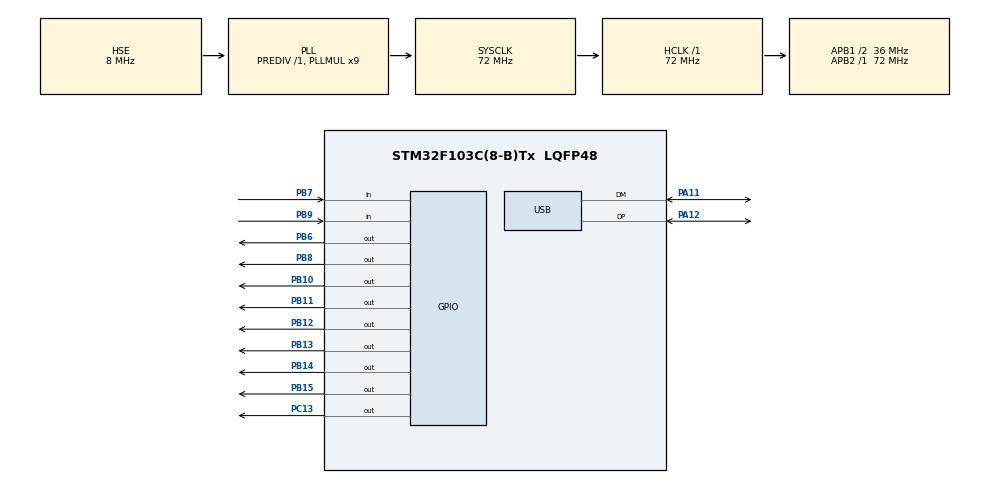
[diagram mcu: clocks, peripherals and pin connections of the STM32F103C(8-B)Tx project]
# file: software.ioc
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FREERTOS.Tasks01=defaultTask,24,128,StartDefaultTask,Default,NULL,Static,defaultTaskBuffer,defaultTaskControlBlock;KeyTask,40,128,KeyTaskFunc,Default,NULL,Static,KeyTaskBuffer,KeyTaskControlBlock;lcdTask,16,192,lcdTaskFunc,Default,NULL,Static,lcdTaskBuffer,lcdTaskControlBlock;calculatorTask,24,832,calculatorTaskFunc,Default,NULL,Static,claculatorTaskBuffer,claculatorTaskControlBlock;controllerTask,24,256,controllerTaskFunc,Default,NULL,Static,controllerTaskBuffer,controllerTaskControlBlock
FREERTOS.configCHECK_FOR_STACK_OVERFLOW=1
FREERTOS.configTIMER_TASK_STACK_DEPTH=128
FREERTOS.configTOTAL_HEAP_SIZE=1024
FREERTOS.configUSE_MALLOC_FAILED_HOOK=1
Mcu.Family=STM32F1
Mcu.Name=STM32F103C(8-B)Tx
Mcu.Package=LQFP48
NVIC.PriorityGroup=NVIC_PRIORITYGROUP_4
NVIC.TIM4_IRQn=true\:15\:0\:false\:false\:true\:false\:false\:true\:true
NVIC.TimeBase=TIM4_IRQn
NVIC.TimeBaseIP=TIM4
NVIC.USB_LP_CAN1_RX0_IRQn=true\:5\:0\:false\:false\:true\:true\:true\:true\:true
PA11.Mode=Device
PA11.Signal=USB_DM
PA12.Mode=Device
PA12.Signal=USB_DP
PA13.Mode=Serial_Wire
PA13.Signal=SYS_JTMS-SWDIO
PA14.Mode=Serial_Wire
PA14.Signal=SYS_JTCK-SWCLK
PB10.Signal=GPIO_Output
PB11.Signal=GPIO_Output
PB12.Signal=GPIO_Output
PB13.PinState=GPIO_PIN_RESET
PB13.Signal=GPIO_Output
PB14.Signal=GPIO_Output
PB15.Signal=GPIO_Output
PB6.PinState=GPIO_PIN_SET
PB6.Signal=GPIO_Output
PB7.Signal=GPIO_Input
PB8.GPIO_Speed=GPIO_SPEED_FREQ_LOW
PB8.PinState=GPIO_PIN_SET
PB8.Signal=GPIO_Output
PB9.Signal=GPIO_Input
PC13-TAMPER-RTC.PinState=GPIO_PIN_SET
PC13-TAMPER-RTC.Signal=GPIO_Output
PC14-OSC32_IN.Mode=LSE-External-Oscillator
PC14-OSC32_IN.Signal=RCC_OSC32_IN
PC15-OSC32_OUT.Mode=LSE-External-Oscillator
PC15-OSC32_OUT.Signal=RCC_OSC32_OUT
PD0-OSC_IN.Mode=HSE-External-Oscillator
PD0-OSC_IN.Signal=RCC_OSC_IN
PD1-OSC_OUT.Mode=HSE-External-Oscillator
PD1-OSC_OUT.Signal=RCC_OSC_OUT
ProjectManager.HeapSize=0x0
ProjectManager.StackSize=0x400
ProjectManager.TargetToolchain=CMake
RCC.AHBFreq_Value=72000000
RCC.APB1CLKDivider=RCC_HCLK_DIV2
RCC.APB1Freq_Value=36000000
RCC.APB1TimFreq_Value=72000000
RCC.APB2Freq_Value=72000000
RCC.APB2TimFreq_Value=72000000
RCC.HCLKFreq_Value=72000000
RCC.PLLMUL=RCC_PLL_MUL9
RCC.PLLSourceVirtual=RCC_PLLSOURCE_HSE
RCC.SYSCLKFreq_VALUE=72000000
RCC.SYSCLKSource=RCC_SYSCLKSOURCE_PLLCLK
RCC.USBFreq_Value=48000000
RCC.USBPrescaler=RCC_USBCLKSOURCE_PLL_DIV1_5
TIM3.Prescaler=71
USB_DEVICE.APP_RX_DATA_SIZE=128
USB_DEVICE.APP_TX_DATA_SIZE=128
USB_DEVICE.CLASS_NAME_FS=CDC
USB_DEVICE.USBD_MAX_STR_DESC_SIZ=64
USB_DEVICE.VirtualMode=Cdc
USB_DEVICE.VirtualModeFS=Cdc_FS
VP_FREERTOS_VS_CMSIS_V2.Mode=CMSIS_V2
VP_SYS_VS_tim4.Mode=TIM4
VP_TIM3_VS_ClockSourceINT.Mode=Internal
VP_USB_DEVICE_VS_USB_DEVICE_CDC_FS.Mode=CDC_FS
board=custom

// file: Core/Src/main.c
/* USER CODE BEGIN Header */
/**
  ******************************************************************************
  * @file           : main.c
  * @brief          : Main program body
  ******************************************************************************
  * @attention
  *
  * Copyright (c) 2026 STMicroelectronics.
  * All rights reserved.
  *
  * This software is licensed under terms that can be found in the LICENSE file
  * in the root directory of this software component.
  * If no LICENSE file comes with this software, it is provided AS-IS.
  *
  ******************************************************************************
  */
/* USER CODE END Header */
#include "main.h"
#include "cmsis_os.h"

/* USER CODE BEGIN Includes */
#include "calculator_app.h"
/*
 * CubeMX still owns the optional USB configuration used by the separate
 * self-test image. Keep calculator regeneration from starting USB.
 */
/* #define MX_USB_DEVICE_Init() ((void)0) */
#include "usb_device.h"
/* USER CODE END Includes */

typedef StaticTask_t osStaticThreadDef_t;

TIM_HandleTypeDef htim3;

/* Definitions for defaultTask */
osThreadId_t defaultTaskHandle;
uint32_t defaultTaskBuffer[ 128 ];
osStaticThreadDef_t defaultTaskControlBlock;
const osThreadAttr_t defaultTask_attributes = {
  .name = "defaultTask",
  .cb_mem = &defaultTaskControlBlock,
  .cb_size = sizeof(defaultTaskControlBlock),
  .stack_mem = &defaultTaskBuffer[0],
  .stack_size = sizeof(defaultTaskBuffer),
  .priority = (osPriority_t) osPriorityNormal,
};
/* Definitions for KeyTask */
osThreadId_t KeyTaskHandle;
uint32_t KeyTaskBuffer[ 128 ];
osStaticThreadDef_t KeyTaskControlBlock;
const osThreadAttr_t KeyTask_attributes = {
  .name = "KeyTask",
  .cb_mem = &KeyTaskControlBlock,
  .cb_size = sizeof(KeyTaskControlBlock),
  .stack_mem = &KeyTaskBuffer[0],
  .stack_size = sizeof(KeyTaskBuffer),
  .priority = (osPriority_t) osPriorityHigh,
};
/* Definitions for lcdTask */
osThreadId_t lcdTaskHandle;
uint32_t lcdTaskBuffer[ 192 ];
osStaticThreadDef_t lcdTaskControlBlock;
const osThreadAttr_t lcdTask_attributes = {
  .name = "lcdTask",
  .cb_mem = &lcdTaskControlBlock,
  .cb_size = sizeof(lcdTaskControlBlock),
  .stack_mem = &lcdTaskBuffer[0],
  .stack_size = sizeof(lcdTaskBuffer),
  .priority = (osPriority_t) osPriorityBelowNormal,
};
/* Definitions for calculatorTask */
osThreadId_t calculatorTaskHandle;
uint32_t claculatorTaskBuffer[ 832 ];
osStaticThreadDef_t claculatorTaskControlBlock;
const osThreadAttr_t calculatorTask_attributes = {
  .name = "calculatorTask",
  .cb_mem = &claculatorTaskControlBlock,
  .cb_size = sizeof(claculatorTaskControlBlock),
  .stack_mem = &claculatorTaskBuffer[0],
  .stack_size = sizeof(claculatorTaskBuffer),
  .priority = (osPriority_t) osPriorityNormal,
};
/* Definitions for controllerTask */
osThreadId_t controllerTaskHandle;
uint32_t controllerTaskBuffer[ 256 ];
osStaticThreadDef_t controllerTaskControlBlock;
const osThreadAttr_t controllerTask_attributes = {
  .name = "controllerTask",
  .cb_mem = &controllerTaskControlBlock,
  .cb_size = sizeof(controllerTaskControlBlock),
  .stack_mem = &controllerTaskBuffer[0],
  .stack_size = sizeof(controllerTaskBuffer),
  .priority = (osPriority_t) osPriorityNormal,
};

void SystemClock_Config(void);
static void MX_GPIO_Init(void);
static void MX_TIM3_Init(void);
void StartDefaultTask(void *argument);
void KeyTaskFunc(void *argument);
void lcdTaskFunc(void *argument);
void calculatorTaskFunc(void *argument);
void controllerTaskFunc(void *argument);

int main(void)

{

  /* MCU Configuration--------------------------------------------------------*/

  /* Reset of all peripherals, Initializes the Flash interface and the Systick. */
  HAL_Init();

  /* Configure the system clock */
  SystemClock_Config();

  /* Initialize all configured peripherals */
  MX_GPIO_Init();
  MX_TIM3_Init();
  /* USER CODE BEGIN 2 */

  if (HAL_TIM_Base_Start(&htim3) != HAL_OK)
  {
    Error_Handler();
  }
  MX_USB_DEVICE_Init();

  /* USER CODE END 2 */

  /* Init scheduler */
  osKernelInitialize();

  /* USER CODE BEGIN RTOS_QUEUES */
  calculator_app_init();
  /* USER CODE END RTOS_QUEUES */

  /* Create the thread(s) */
  /* creation of defaultTask */
  defaultTaskHandle = osThreadNew(StartDefaultTask, NULL, &defaultTask_attributes);

  /* creation of KeyTask */
  KeyTaskHandle = osThreadNew(KeyTaskFunc, NULL, &KeyTask_attributes);

  /* creation of lcdTask */
  lcdTaskHandle = osThreadNew(lcdTaskFunc, NULL, &lcdTask_attributes);

  /* creation of calculatorTask */
  calculatorTaskHandle = osThreadNew(calculatorTaskFunc, NULL, &calculatorTask_attributes);

  /* creation of controllerTask */
  controllerTaskHandle = osThreadNew(controllerTaskFunc, NULL, &controllerTask_attributes);

  /* Start scheduler */
  osKernelStart();

  /* We should never get here as control is now taken by the scheduler */

  /* Infinite loop */
  while (1)
  {

  }
}

void SystemClock_Config(void)
{
  RCC_OscInitTypeDef RCC_OscInitStruct = {0};
  RCC_ClkInitTypeDef RCC_ClkInitStruct = {0};
  RCC_PeriphCLKInitTypeDef PeriphClkInit = {0};

  /** Initializes the RCC Oscillators according to the specified parameters
  * in the RCC_OscInitTypeDef structure.
  */
  RCC_OscInitStruct.OscillatorType = RCC_OSCILLATORTYPE_HSE;
  RCC_OscInitStruct.HSEState = RCC_HSE_ON;
  RCC_OscInitStruct.HSEPredivValue = RCC_HSE_PREDIV_DIV1;
  RCC_OscInitStruct.HSIState = RCC_HSI_ON;
  RCC_OscInitStruct.PLL.PLLState = RCC_PLL_ON;
  RCC_OscInitStruct.PLL.PLLSource = RCC_PLLSOURCE_HSE;
  RCC_OscInitStruct.PLL.PLLMUL = RCC_PLL_MUL9;
  if (HAL_RCC_OscConfig(&RCC_OscInitStruct) != HAL_OK)
  {
    Error_Handler();
  }

  /** Initializes the CPU, AHB and APB buses clocks
  */
  RCC_ClkInitStruct.ClockType = RCC_CLOCKTYPE_HCLK|RCC_CLOCKTYPE_SYSCLK
                              |RCC_CLOCKTYPE_PCLK1|RCC_CLOCKTYPE_PCLK2;
  RCC_ClkInitStruct.SYSCLKSource = RCC_SYSCLKSOURCE_PLLCLK;
  RCC_ClkInitStruct.AHBCLKDivider = RCC_SYSCLK_DIV1;
  RCC_ClkInitStruct.APB1CLKDivider = RCC_HCLK_DIV2;
  RCC_ClkInitStruct.APB2CLKDivider = RCC_HCLK_DIV1;

  if (HAL_RCC_ClockConfig(&RCC_ClkInitStruct, FLASH_LATENCY_2) != HAL_OK)
  {
    Error_Handler();
  }
  PeriphClkInit.PeriphClockSelection = RCC_PERIPHCLK_USB;
  PeriphClkInit.UsbClockSelection = RCC_USBCLKSOURCE_PLL_DIV1_5;
  if (HAL_RCCEx_PeriphCLKConfig(&PeriphClkInit) != HAL_OK)
  {
    Error_Handler();
  }
}

static void MX_TIM3_Init(void)
{

  TIM_ClockConfigTypeDef sClockSourceConfig = {0};
  TIM_MasterConfigTypeDef sMasterConfig = {0};

  htim3.Instance = TIM3;
  htim3.Init.Prescaler = 71;
  htim3.Init.CounterMode = TIM_COUNTERMODE_UP;
  htim3.Init.Period = 65535;
  htim3.Init.ClockDivision = TIM_CLOCKDIVISION_DIV1;
  htim3.Init.AutoReloadPreload = TIM_AUTORELOAD_PRELOAD_DISABLE;
  if (HAL_TIM_Base_Init(&htim3) != HAL_OK)
  {
    Error_Handler();
  }
  sClockSourceConfig.ClockSource = TIM_CLOCKSOURCE_INTERNAL;
  if (HAL_TIM_ConfigClockSource(&htim3, &sClockSourceConfig) != HAL_OK)
  {
    Error_Handler();
  }
  sMasterConfig.MasterOutputTrigger = TIM_TRGO_RESET;
  sMasterConfig.MasterSlaveMode = TIM_MASTERSLAVEMODE_DISABLE;
  if (HAL_TIMEx_MasterConfigSynchronization(&htim3, &sMasterConfig) != HAL_OK)
  {
    Error_Handler();
  }

}

static void MX_GPIO_Init(void)
{
  GPIO_InitTypeDef GPIO_InitStruct = {0};

  /* GPIO Ports Clock Enable */
  __HAL_RCC_GPIOC_CLK_ENABLE();
  __HAL_RCC_GPIOD_CLK_ENABLE();
  __HAL_RCC_GPIOB_CLK_ENABLE();
  __HAL_RCC_GPIOA_CLK_ENABLE();

  /*Configure GPIO pin Output Level */
  HAL_GPIO_WritePin(GPIOC, GPIO_PIN_13, GPIO_PIN_SET);

  /*Configure GPIO pin Output Level */
  HAL_GPIO_WritePin(GPIOB, GPIO_PIN_10|GPIO_PIN_11|GPIO_PIN_12|GPIO_PIN_13
                          |GPIO_PIN_14|GPIO_PIN_15, GPIO_PIN_RESET);

  /*Configure GPIO pin Output Level */
  HAL_GPIO_WritePin(GPIOB, GPIO_PIN_6|GPIO_PIN_8, GPIO_PIN_SET);

  /*Configure GPIO pin : PC13 */
  GPIO_InitStruct.Pin = GPIO_PIN_13;
  GPIO_InitStruct.Mode = GPIO_MODE_OUTPUT_PP;
  GPIO_InitStruct.Pull = GPIO_NOPULL;
  GPIO_InitStruct.Speed = GPIO_SPEED_FREQ_LOW;
  HAL_GPIO_Init(GPIOC, &GPIO_InitStruct);

  /*Configure GPIO pins : PB10 PB11 PB12 PB13
                           PB14 PB15 PB6 PB8 */
  GPIO_InitStruct.Pin = GPIO_PIN_10|GPIO_PIN_11|GPIO_PIN_12|GPIO_PIN_13
                          |GPIO_PIN_14|GPIO_PIN_15|GPIO_PIN_6|GPIO_PIN_8;
  GPIO_InitStruct.Mode = GPIO_MODE_OUTPUT_PP;
  GPIO_InitStruct.Pull = GPIO_NOPULL;
  GPIO_InitStruct.Speed = GPIO_SPEED_FREQ_LOW;
  HAL_GPIO_Init(GPIOB, &GPIO_InitStruct);

  /*Configure GPIO pins : PB7 PB9 */
  GPIO_InitStruct.Pin = GPIO_PIN_7|GPIO_PIN_9;
  GPIO_InitStruct.Mode = GPIO_MODE_INPUT;
  GPIO_InitStruct.Pull = GPIO_NOPULL;
  HAL_GPIO_Init(GPIOB, &GPIO_InitStruct);

}

void StartDefaultTask(void *argument)
{
  /* USER CODE BEGIN 5 */
  (void)argument;
  calculator_heartbeat_task();
  /* USER CODE END 5 */
}

void KeyTaskFunc(void *argument)
{
  /* USER CODE BEGIN KeyTaskFunc */

  (void)argument;
  calculator_key_task();
  /* USER CODE END KeyTaskFunc */
}

void lcdTaskFunc(void *argument)
{
  /* USER CODE BEGIN lcdTaskFunc */
  (void)argument;
  calculator_lcd_task();
  /* USER CODE END lcdTaskFunc */
}

void calculatorTaskFunc(void *argument)
{
  /* USER CODE BEGIN calculatorTaskFunc */
  (void)argument;
  calculator_compute_task();
  /* USER CODE END calculatorTaskFunc */
}

void controllerTaskFunc(void *argument)
{
  /* USER CODE BEGIN controllerTaskFunc */
  (void)argument;
  calculator_controller_task();
  /* USER CODE END controllerTaskFunc */
}

void HAL_TIM_PeriodElapsedCallback(TIM_HandleTypeDef *htim)
{
  if (htim->Instance == TIM4) {
    HAL_IncTick();
  }
}

void Error_Handler(void)
{
  __disable_irq();
  while (1)
  {
  }
}

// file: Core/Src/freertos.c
/* USER CODE BEGIN Header */
/**
  ******************************************************************************
  * File Name          : freertos.c
  * Description        : Code for freertos applications
  ******************************************************************************
  * @attention
  *
  * Copyright (c) 2026 STMicroelectronics.
  * All rights reserved.
  *
  * This software is licensed under terms that can be found in the LICENSE file
  * in the root directory of this software component.
  * If no LICENSE file comes with this software, it is provided AS-IS.
  *
  ******************************************************************************
  */
/* USER CODE END Header */

#include "FreeRTOS.h"
#include "task.h"
#include "main.h"

/* Hook prototypes */
void vApplicationMallocFailedHook(void);
void vApplicationStackOverflowHook(TaskHandle_t xTask, char *pcTaskName);

/* USER CODE BEGIN 5 */
void vApplicationMallocFailedHook(void)
{
  taskDISABLE_INTERRUPTS();
  NVIC_SystemReset();

  for (;;)
  {
  }
}

/* 栈溢出钩子（configCHECK_FOR_STACK_OVERFLOW=1 时由内核调用）：
 * 调试时在 taskDISABLE_INTERRUPTS() 处下断点，查看 pcTaskName 定位是哪个任务；
 * 运行时策略与 vApplicationMallocFailedHook 一致——复位，而不是带着坏栈继续跑。 */
void vApplicationStackOverflowHook(TaskHandle_t xTask, char *pcTaskName)
{
  (void)xTask;
  (void)pcTaskName;
  taskDISABLE_INTERRUPTS();
  NVIC_SystemReset();

  for (;;)
  {
  }
}
/* USER CODE END 5 */
